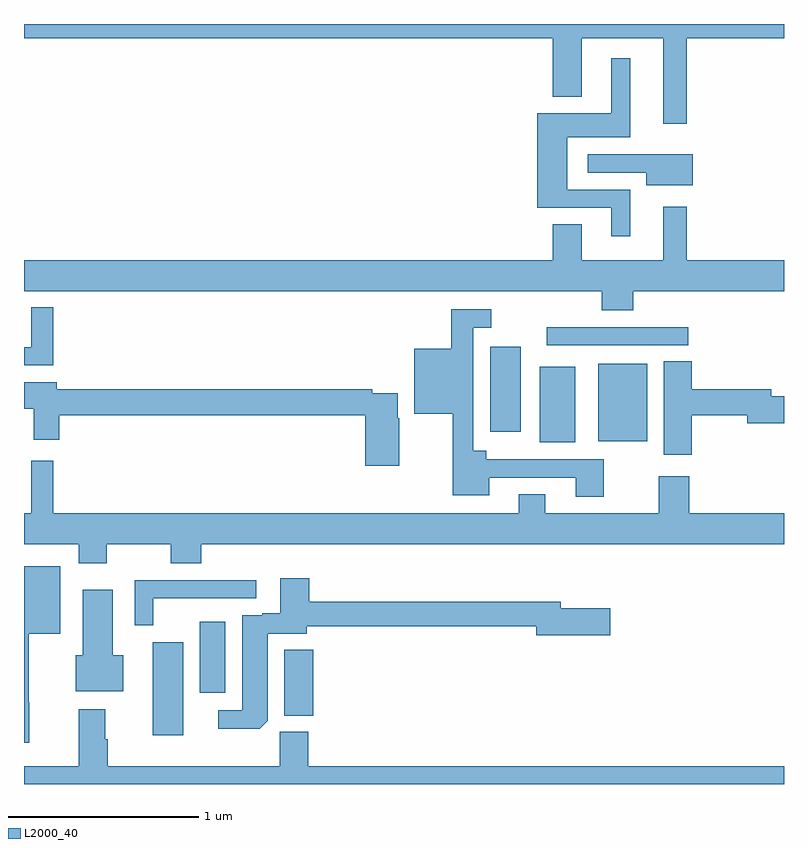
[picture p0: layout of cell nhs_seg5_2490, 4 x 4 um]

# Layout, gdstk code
import gdstk
lib = gdstk.Library(unit=1e-6, precision=1e-09)
def R(c, l, rs):  # rectangles x0, y0, x1, y1
    for r in rs: c.add(gdstk.rectangle(r[:2], r[2:], *l))
def P(c, l, *ps):  # polygons
    for p in ps: c.add(gdstk.Polygon(p, *l))
L2000_40 = (2000, 40)

nhs_seg5_2490 = lib.new_cell('nhs_seg5_2490')
R(nhs_seg5_2490, L2000_40, [(255.677,889.056,255.838,889.546), (256.37,889.159,256.523,889.505), (255.926,889.278,256.06,889.654), (257.714,890.597,257.902,890.995), (258.023,890.603,258.28,891.01), (257.453,890.652,257.614,891.1), (257.751,891.108,258.496,891.204)])
P(nhs_seg5_2490, L2000_40, [(258.487,892.724),(259,892.724),(259,892.799),(255,892.799),(255,892.724),(257.783,892.724),(257.783,892.415),(257.935,892.415),(257.935,892.724),(258.365,892.724),(258.365,892.275),(258.487,892.275)],
  [(258.19,891.927),(257.86,891.927),(257.86,892.202),(258.19,892.202),(258.19,892.618),(258.092,892.618),(258.092,892.33),(257.702,892.33),(257.702,891.831),(258.092,891.831),(258.092,891.681),(258.19,891.681)],
  [(258.52,892.114),(258.279,892.114),(258.279,892.113),(257.967,892.113),(257.967,892.017),(258.275,892.017),(258.275,891.95),(258.52,891.95)],
  [(258.206,891.392),(259,891.392),(259,891.556),(258.487,891.556),(258.487,891.838),(258.365,891.838),(258.365,891.556),(257.935,891.556),(257.935,891.746),(257.783,891.746),(257.783,891.556),(255,891.556),(255,891.392),(258.041,891.392),(258.041,891.293),(258.206,891.293)],
  [(255.155,891.307),(255.038,891.307),(255.038,891.099),(255,891.099),(255,891.003),(255.155,891.003)],
  [(258.051,890.508),(257.434,890.508),(257.434,890.554),(257.364,890.554),(257.364,890.851),(257.365,890.851),(257.365,891.201),(257.458,891.201),(257.458,891.297),(257.248,891.297),(257.248,891.091),(257.054,891.091),(257.054,890.747),(257.256,890.747),(257.256,890.318),(257.449,890.318),(257.449,890.412),(257.903,890.412),(257.903,890.31),(258.051,890.31)],
  [(258.515,890.74),(258.806,890.74),(258.806,890.698),(259,890.698),(259,890.84),(258.934,890.84),(258.934,890.876),(258.515,890.876),(258.515,891.023),(258.368,891.023),(258.368,890.532),(258.515,890.532)],
  [(256.974,890.723),(256.966,890.723),(256.966,890.856),(256.832,890.856),(256.832,890.876),(255.172,890.876),(255.172,890.914),(255,890.914),(255,890.774),(255.05,890.774),(255.05,890.61),(255.185,890.61),(255.185,890.74),(256.796,890.74),(256.796,890.475),(256.974,890.475)],
  [(255.435,890.06),(255.772,890.06),(255.772,889.961),(255.932,889.961),(255.932,890.06),(259,890.06),(259,890.224),(258.5,890.224),(258.5,890.419),(258.34,890.419),(258.34,890.224),(257.743,890.224),(257.743,890.323),(257.603,890.323),(257.603,890.224),(255.155,890.224),(255.155,890.5),(255.039,890.5),(255.039,890.224),(255,890.224),(255,890.06),(255.287,890.06),(255.287,889.961),(255.435,889.961)],
  [(255.028,889.229),(255.025,889.229),(255.025,889.589),(255.19,889.589),(255.19,889.945),(255,889.945),(255,889.017),(255.028,889.017)],
  [(256.282,889.132),(256.282,889.59),(256.489,889.59),(256.489,889.63),(257.696,889.63),(257.696,889.583),(258.085,889.583),(258.085,889.725),(257.824,889.725),(257.824,889.759),(256.502,889.759),(256.502,889.882),(256.349,889.882),(256.349,889.699),(256.253,889.699),(256.253,889.686),(256.148,889.686),(256.148,889.188),(256.023,889.188),(256.023,889.091),(256.241,889.091)],
  [(255.681,889.776),(256.222,889.776),(256.222,889.872),(255.582,889.872),(255.582,889.635),(255.681,889.635)],
  [(255.523,889.477),(255.466,889.477),(255.466,889.822),(255.308,889.822),(255.308,889.477),(255.272,889.477),(255.272,889.286),(255.523,889.286)],
  [(259,888.892),(256.496,888.892),(256.496,889.074),(256.345,889.074),(256.345,888.892),(255.44,888.892),(255.44,889.034),(255.427,889.034),(255.427,889.192),(255.287,889.192),(255.287,888.892),(255,888.892),(255,888.799),(259,888.799)])

lib.write_gds('nhs_seg5_2490.gds')
